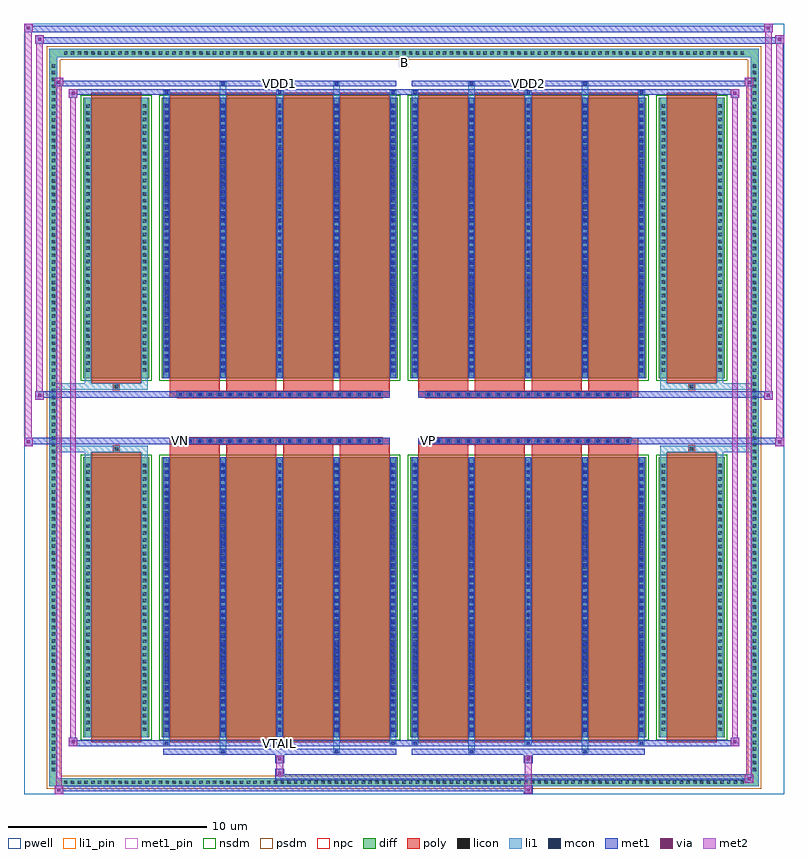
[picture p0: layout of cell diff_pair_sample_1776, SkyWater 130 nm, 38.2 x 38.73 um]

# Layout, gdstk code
import gdstk
lib = gdstk.Library(unit=1e-6, precision=5e-09)
def R(c, l, rs):  # rectangles x0, y0, x1, y1
    for r in rs: c.add(gdstk.rectangle(r[:2], r[2:], *l))
def A(c, l, x, y, w, h, nx, ny, dx, dy):  # array of equal rectangles
    R(c, l, [(x+i*dx, y+j*dy, x+i*dx+w, y+j*dy+h) for i in range(nx) for j in range(ny)])
def P(c, l, *ps):  # polygons
    for p in ps: c.add(gdstk.Polygon(p, *l))
pwell = (64, 44)
diff = (65, 20)
poly = (66, 20)
licon = (66, 44)
li1_pin = (67, 16)
li1 = (67, 20)
mcon = (67, 44)
met1_pin = (68, 16)
met1 = (68, 20)
via = (68, 44)
met2 = (69, 20)
nsdm = (93, 44)
psdm = (94, 20)
npc = (95, 20)

diff_pair_sample_1776 = lib.new_cell('diff_pair_sample_1776')
R(diff_pair_sample_1776, pwell, [(-19.1,-18.93,19.1,19.8), (-16.42,-17.12,-0.01,-0.8), (0.01,-17.12,16.42,-0.8), (-16.42,0.8,-0.01,17.12), (0.01,0.8,16.42,17.12)])
A(diff_pair_sample_1776, diff, -17.205, -18.53, 0.41, 0.41, 101, 2, 0.34, 36.65)
A(diff_pair_sample_1776, diff, -17.83, -17.885, 0.41, 0.41, 1, 105, 0, 0.34)
A(diff_pair_sample_1776, diff, 17.42, -17.885, 0.41, 0.41, 1, 105, 0, 0.34)
R(diff_pair_sample_1776, diff, [(-17.205,-18.53,17.205,-18.12), (-17.83,-17.885,-17.42,17.885), (17.42,-17.885,17.83,17.885), (-16.11,-16.075,-12.81,-1.985), (-12.17,-16.075,-0.32,-1.985), (0.32,-16.075,12.17,-1.985), (12.81,-16.075,16.11,-1.985), (-16.11,1.985,-12.81,16.075), (-12.17,1.985,-0.32,16.075), (0.32,1.985,12.17,16.075), (12.81,1.985,16.11,16.075), (-17.205,18.12,17.205,18.53)])
P(diff_pair_sample_1776, diff, [(17.83,18.53),(-17.83,18.53),(-17.83,-18.12),(-17.42,-18.12),(-17.42,18.12),(17.42,18.12),(17.42,-18.12),(-17.42,-18.12),(-17.83,-18.12),(-17.83,-18.53),(17.83,-18.53)])
A(diff_pair_sample_1776, poly, -11.78, -16.325, 2.52, 14.59, 4, 2, 2.85, 18.06)
A(diff_pair_sample_1776, poly, 0.71, -16.325, 2.52, 14.59, 4, 2, 2.85, 18.06)
A(diff_pair_sample_1776, poly, -11.78, -1.735, 2.52, 0.405, 4, 2, 2.85, 3.065)
A(diff_pair_sample_1776, poly, 0.71, -1.735, 2.52, 0.405, 4, 2, 2.85, 3.065)
A(diff_pair_sample_1776, poly, -11.41, -1.33, 0.33, 0.33, 21, 2, 0.5, 2.33)
A(diff_pair_sample_1776, poly, 1.08, -1.33, 0.33, 0.33, 21, 2, 0.5, 2.33)
R(diff_pair_sample_1776, poly, [(-15.72,-16.325,-13.2,-1.735), (13.2,-16.325,15.72,-1.735), (-14.625,-1.735,-14.295,-1.405), (-14.625,-1.735,-14.295,-1.405), (14.295,-1.735,14.625,-1.405), (14.295,-1.735,14.625,-1.405), (-11.78,-1.33,-0.71,-1), (0.71,-1.33,11.78,-1), (-11.78,1,-0.71,1.33), (0.71,1,11.78,1.33), (-14.625,1.405,-14.295,1.735), (-14.625,1.405,-14.295,1.735), (14.295,1.405,14.625,1.735), (14.295,1.405,14.625,1.735), (-15.72,1.735,-13.2,16.325), (13.2,1.735,15.72,16.325)])
A(diff_pair_sample_1776, licon, -17.085, -18.41, 0.17, 0.17, 101, 2, 0.34, 36.65)
A(diff_pair_sample_1776, licon, -17.71, -17.765, 0.17, 0.17, 1, 105, 0, 0.34)
A(diff_pair_sample_1776, licon, 17.54, -17.765, 0.17, 0.17, 1, 105, 0, 0.34)
A(diff_pair_sample_1776, licon, -15.97, -15.745, 0.17, 0.17, 1, 40, 0, 0.34)
A(diff_pair_sample_1776, licon, -13.12, -15.745, 0.17, 0.17, 1, 40, 0, 0.34)
A(diff_pair_sample_1776, licon, -12.03, -15.745, 0.17, 0.17, 5, 40, 2.85, 0.34)
A(diff_pair_sample_1776, licon, 0.46, -15.745, 0.17, 0.17, 5, 40, 2.85, 0.34)
A(diff_pair_sample_1776, licon, 12.95, -15.745, 0.17, 0.17, 1, 40, 0, 0.34)
A(diff_pair_sample_1776, licon, 15.8, -15.745, 0.17, 0.17, 1, 40, 0, 0.34)
A(diff_pair_sample_1776, licon, -11.33, -1.25, 0.17, 0.17, 21, 2, 0.5, 2.33)
A(diff_pair_sample_1776, licon, 1.16, -1.25, 0.17, 0.17, 21, 2, 0.5, 2.33)
A(diff_pair_sample_1776, licon, -15.97, 2.315, 0.17, 0.17, 1, 40, 0, 0.34)
A(diff_pair_sample_1776, licon, -13.12, 2.315, 0.17, 0.17, 1, 40, 0, 0.34)
A(diff_pair_sample_1776, licon, -12.03, 2.315, 0.17, 0.17, 5, 40, 2.85, 0.34)
A(diff_pair_sample_1776, licon, 0.46, 2.315, 0.17, 0.17, 5, 40, 2.85, 0.34)
A(diff_pair_sample_1776, licon, 12.95, 2.315, 0.17, 0.17, 1, 40, 0, 0.34)
A(diff_pair_sample_1776, licon, 15.8, 2.315, 0.17, 0.17, 1, 40, 0, 0.34)
R(diff_pair_sample_1776, licon, [(-14.545,-1.655,-14.375,-1.485), (14.375,-1.655,14.545,-1.485), (-14.545,1.485,-14.375,1.655), (14.375,1.485,14.545,1.655)])
R(diff_pair_sample_1776, li1_pin, [(-0.25,17.62,0.25,18.12)])
A(diff_pair_sample_1776, li1, -17.165, -18.49, 0.33, 0.33, 101, 2, 0.34, 36.65)
A(diff_pair_sample_1776, li1, -17.79, -17.845, 0.33, 0.33, 1, 105, 0, 0.34)
A(diff_pair_sample_1776, li1, 17.46, -17.845, 0.33, 0.33, 1, 105, 0, 0.34)
A(diff_pair_sample_1776, li1, -12.11, -16.45, 0.33, 0.375, 3, 2, 5.7, 32.525)
A(diff_pair_sample_1776, li1, -12.03, -16.45, 0.17, 0.17, 3, 2, 5.7, 32.73)
A(diff_pair_sample_1776, li1, 0.38, -16.45, 0.33, 0.375, 3, 2, 5.7, 32.525)
A(diff_pair_sample_1776, li1, 0.46, -16.45, 0.17, 0.17, 3, 2, 5.7, 32.73)
A(diff_pair_sample_1776, li1, -12.11, -16.075, 0.33, 14.09, 5, 2, 2.85, 18.06)
A(diff_pair_sample_1776, li1, 0.38, -16.075, 0.33, 14.09, 5, 2, 2.85, 18.06)
A(diff_pair_sample_1776, li1, -16.05, -15.825, 0.33, 0.33, 1, 40, 0, 0.34)
A(diff_pair_sample_1776, li1, -13.2, -15.825, 0.33, 0.33, 1, 40, 0, 0.34)
A(diff_pair_sample_1776, li1, -12.11, -15.825, 0.33, 0.33, 5, 40, 2.85, 0.34)
A(diff_pair_sample_1776, li1, 0.38, -15.825, 0.33, 0.33, 5, 40, 2.85, 0.34)
A(diff_pair_sample_1776, li1, 12.87, -15.825, 0.33, 0.33, 1, 40, 0, 0.34)
A(diff_pair_sample_1776, li1, 15.72, -15.825, 0.33, 0.33, 1, 40, 0, 0.34)
A(diff_pair_sample_1776, li1, -12.03, -15.775, 0.17, 0.17, 5, 38, 2.85, 0.36)
A(diff_pair_sample_1776, li1, -12.03, -15.775, 0.17, 13.49, 5, 2, 2.85, 18.06)
A(diff_pair_sample_1776, li1, 0.46, -15.775, 0.17, 0.17, 5, 38, 2.85, 0.36)
A(diff_pair_sample_1776, li1, 0.46, -15.775, 0.17, 13.49, 5, 2, 2.85, 18.06)
A(diff_pair_sample_1776, li1, -11.41, -1.33, 0.33, 0.33, 21, 2, 0.5, 2.33)
A(diff_pair_sample_1776, li1, 1.08, -1.33, 0.33, 0.33, 21, 2, 0.5, 2.33)
A(diff_pair_sample_1776, li1, -16.05, 2.235, 0.33, 0.33, 1, 40, 0, 0.34)
A(diff_pair_sample_1776, li1, -13.2, 2.235, 0.33, 0.33, 1, 40, 0, 0.34)
A(diff_pair_sample_1776, li1, -12.11, 2.235, 0.33, 0.33, 5, 40, 2.85, 0.34)
A(diff_pair_sample_1776, li1, 0.38, 2.235, 0.33, 0.33, 5, 40, 2.85, 0.34)
A(diff_pair_sample_1776, li1, 12.87, 2.235, 0.33, 0.33, 1, 40, 0, 0.34)
A(diff_pair_sample_1776, li1, 15.72, 2.235, 0.33, 0.33, 1, 40, 0, 0.34)
A(diff_pair_sample_1776, li1, -12.03, 2.285, 0.17, 0.17, 5, 38, 2.85, 0.36)
A(diff_pair_sample_1776, li1, 0.46, 2.285, 0.17, 0.17, 5, 38, 2.85, 0.36)
R(diff_pair_sample_1776, li1, [(-17.83,-18.53,-17.42,-18.12), (-17.83,-18.53,-17.42,-18.12), (-17.42,-18.53,17.42,-18.12), (17.42,-18.53,17.83,-18.12), (17.42,-18.53,17.83,-18.12), (-17.83,-18.12,-17.42,18.12), (17.42,-18.12,17.83,18.12), (-9.26,-16.88,-8.93,-16.075), (-9.18,-16.88,-9.01,-16.71), (-3.56,-16.88,-3.23,-16.075), (-3.48,-16.88,-3.31,-16.71), (3.23,-16.88,3.56,-16.075), (3.31,-16.88,3.48,-16.71), (8.93,-16.88,9.26,-16.075), (9.01,-16.88,9.18,-16.71), (-16.05,-16.075,-15.72,-1.985), (-13.2,-16.075,-12.87,-1.985), (12.87,-16.075,13.2,-1.985), (15.72,-16.075,16.05,-1.985), (-16.05,-1.985,-15.72,-1.405), (-13.2,-1.985,-12.87,-1.405), (12.87,-1.985,13.2,-1.405), (15.72,-1.985,16.05,-1.405), (-17.83,-1.735,-14.625,-1.405), (-16.05,-1.735,-14.625,-1.405), (-14.625,-1.735,-14.295,-1.405), (-14.295,-1.735,-12.87,-1.405), (12.87,-1.735,14.295,-1.405), (14.295,-1.735,14.625,-1.405), (14.295,-1.735,17.83,-1.405), (14.625,-1.735,16.05,-1.405), (-17.83,1.405,-14.625,1.735), (-16.05,1.405,-14.625,1.735), (-16.05,1.405,-15.72,1.985), (-14.625,1.405,-14.295,1.735), (-14.295,1.405,-12.87,1.735), (-13.2,1.405,-12.87,1.985), (12.87,1.405,14.295,1.735), (12.87,1.405,13.2,1.985), (14.295,1.405,14.625,1.735), (14.295,1.405,17.83,1.735), (14.625,1.405,16.05,1.735), (15.72,1.405,16.05,1.985), (-16.05,1.985,-15.72,16.075), (-13.2,1.985,-12.87,16.075), (12.87,1.985,13.2,16.075), (15.72,1.985,16.05,16.075), (-9.26,16.075,-8.93,16.88), (-3.56,16.075,-3.23,16.88), (3.23,16.075,3.56,16.88), (8.93,16.075,9.26,16.88), (-9.18,16.71,-9.01,16.88), (-3.48,16.71,-3.31,16.88), (3.31,16.71,3.48,16.88), (9.01,16.71,9.18,16.88), (-17.83,18.12,-17.42,18.53), (-17.83,18.12,-17.42,18.53), (-17.42,18.12,17.42,18.53), (17.42,18.12,17.83,18.53), (17.42,18.12,17.83,18.53)])
A(diff_pair_sample_1776, mcon, -12.03, -16.45, 0.17, 0.17, 3, 2, 5.7, 32.73)
A(diff_pair_sample_1776, mcon, 0.46, -16.45, 0.17, 0.17, 3, 2, 5.7, 32.73)
A(diff_pair_sample_1776, mcon, -12.03, -15.775, 0.17, 0.17, 5, 38, 2.85, 0.36)
A(diff_pair_sample_1776, mcon, 0.46, -15.775, 0.17, 0.17, 5, 38, 2.85, 0.36)
A(diff_pair_sample_1776, mcon, -11.33, -1.25, 0.17, 0.17, 21, 2, 0.5, 2.33)
A(diff_pair_sample_1776, mcon, 1.16, -1.25, 0.17, 0.17, 21, 2, 0.5, 2.33)
A(diff_pair_sample_1776, mcon, -12.03, 2.285, 0.17, 0.17, 5, 38, 2.85, 0.36)
A(diff_pair_sample_1776, mcon, 0.46, 2.285, 0.17, 0.17, 5, 38, 2.85, 0.36)
R(diff_pair_sample_1776, mcon, [(-9.18,-16.88,-9.01,-16.71), (-3.48,-16.88,-3.31,-16.71), (3.31,-16.88,3.48,-16.71), (9.01,-16.88,9.18,-16.71), (-9.18,16.71,-9.01,16.88), (-3.48,16.71,-3.31,16.88), (3.31,16.71,3.48,16.88), (9.01,16.71,9.18,16.88)])
R(diff_pair_sample_1776, met1_pin, [(-6.38,-16.49,-6.11,-16.22), (-11.38,-1.29,-11.11,-1.02), (1.11,-1.29,1.38,-1.02), (-6.38,16.67,-6.11,16.94), (6.11,16.67,6.38,16.94)])
A(diff_pair_sample_1776, met1, -12.09, -16.51, 0.29, 0.29, 3, 2, 5.7, 32.73)
A(diff_pair_sample_1776, met1, 0.4, -16.51, 0.29, 0.29, 3, 2, 5.7, 32.73)
A(diff_pair_sample_1776, met1, -12.09, -16.075, 0.29, 14.09, 5, 2, 2.85, 18.06)
A(diff_pair_sample_1776, met1, 0.4, -16.075, 0.29, 14.09, 5, 2, 2.85, 18.06)
A(diff_pair_sample_1776, met1, -12.09, -15.835, 0.29, 0.29, 5, 38, 2.85, 0.36)
A(diff_pair_sample_1776, met1, 0.4, -15.835, 0.29, 0.29, 5, 38, 2.85, 0.36)
A(diff_pair_sample_1776, met1, -11.39, -1.31, 0.29, 0.29, 21, 2, 0.5, 2.33)
A(diff_pair_sample_1776, met1, 1.1, -1.31, 0.29, 0.29, 21, 2, 0.5, 2.33)
A(diff_pair_sample_1776, met1, -12.09, 2.225, 0.29, 0.29, 5, 38, 2.85, 0.36)
A(diff_pair_sample_1776, met1, 0.4, 2.225, 0.29, 0.29, 5, 38, 2.85, 0.36)
R(diff_pair_sample_1776, met1, [(-17.56,-18.93,-17.13,-18.5), (6.03,-18.93,6.46,-18.5), (-17.56,-18.79,6.46,-18.5), (17.13,-18.36,17.56,-17.93), (-6.46,-18.22,17.56,-17.93), (-6.46,-18.08,-6.03,-17.65), (-6.46,-17.37,-6.03,-16.94), (6.03,-17.37,6.46,-16.94), (-12.09,-16.94,-0.4,-16.65), (-9.24,-16.94,-8.95,-16.65), (-3.54,-16.94,-3.25,-16.65), (0.4,-16.94,12.09,-16.65), (3.25,-16.94,3.54,-16.65), (8.95,-16.94,9.24,-16.65), (-16.85,-16.51,-16.42,-16.08), (-16.85,-16.51,-12.09,-16.22), (-12.09,-16.51,-0.4,-16.22), (-0.4,-16.51,0.4,-16.22), (0.4,-16.51,12.09,-16.22), (12.09,-16.51,16.85,-16.22), (16.42,-16.51,16.85,-16.08), (-19.1,-1.43,-18.67,-1), (18.67,-1.43,19.1,-1), (-19.1,-1.33,-0.71,-1), (-11.78,-1.33,-0.71,-1), (0.71,-1.33,11.78,-1), (0.71,-1.33,19.1,-1), (-18.53,0.9,-18.1,1.33), (18.1,0.9,18.53,1.33), (-18.53,1,-11.78,1.33), (-11.78,1,-0.71,1.33), (0.71,1,11.78,1.33), (11.78,1,18.53,1.33), (-16.85,16.08,-16.42,16.51), (16.42,16.08,16.85,16.51), (-16.85,16.22,-12.09,16.51), (-12.09,16.22,-0.4,16.51), (-0.4,16.22,0.4,16.51), (0.4,16.22,12.09,16.51), (12.09,16.22,16.85,16.51), (-17.56,16.65,-17.13,17.08), (-17.56,16.65,-12.09,16.94), (-12.09,16.65,-0.4,16.94), (-9.24,16.65,-8.95,16.94), (-3.54,16.65,-3.25,16.94), (0.4,16.65,12.09,16.94), (3.25,16.65,3.54,16.94), (8.95,16.65,9.24,16.94), (12.09,16.65,17.56,16.94), (17.13,16.65,17.56,17.08), (-18.53,18.8,-18.1,19.23), (-18.53,18.8,-16.42,19.13), (-16.42,18.8,16.42,19.13), (16.42,18.8,19.1,19.13), (18.67,18.8,19.1,19.23), (-19.1,19.37,-18.67,19.8), (-19.1,19.37,-16.42,19.7), (-16.42,19.37,16.42,19.7), (16.42,19.37,18.53,19.7), (18.1,19.37,18.53,19.8)])
R(diff_pair_sample_1776, via, [(-17.42,-18.79,-17.27,-18.64), (6.17,-18.79,6.32,-18.64), (17.27,-18.22,17.42,-18.07), (-6.32,-17.94,-6.17,-17.79), (-6.32,-17.23,-6.17,-17.08), (6.17,-17.23,6.32,-17.08), (-16.71,-16.37,-16.56,-16.22), (16.56,-16.37,16.71,-16.22), (-18.96,-1.29,-18.81,-1.14), (18.81,-1.29,18.96,-1.14), (-18.39,1.04,-18.24,1.19), (18.24,1.04,18.39,1.19), (-16.71,16.22,-16.56,16.37), (16.56,16.22,16.71,16.37), (-17.42,16.79,-17.27,16.94), (17.27,16.79,17.42,16.94), (-18.39,18.94,-18.24,19.09), (18.81,18.94,18.96,19.09), (-18.96,19.51,-18.81,19.66), (18.24,19.51,18.39,19.66)])
R(diff_pair_sample_1776, met2, [(-17.56,-18.93,-17.13,-18.5), (-17.49,-18.93,-17.2,17.08), (-17.2,-18.93,-17.13,-18.5), (-17.51,-18.88,-17.18,-18.55), (6.08,-18.88,6.41,-18.55), (6.08,-18.55,6.41,-17.32), (17.13,-18.36,17.56,-17.93), (17.2,-18.36,17.49,17.08), (17.49,-18.36,17.56,-17.93), (17.18,-18.31,17.51,-17.98), (-6.41,-18.03,-6.08,-17.7), (-6.41,-17.7,-6.08,-17.32), (-6.41,-17.32,-6.08,-16.99), (6.08,-17.32,6.41,-16.99), (-16.85,-16.51,-16.42,-16.08), (-16.78,-16.51,-16.49,16.51), (-16.49,-16.51,-16.42,-16.08), (16.42,-16.51,16.85,-16.08), (16.49,-16.51,16.78,16.51), (16.78,-16.51,16.85,-16.08), (-16.8,-16.46,-16.47,-16.13), (16.47,-16.46,16.8,-16.13), (-19.1,-1.43,-18.67,-1), (-19.05,-1.43,-18.72,19.8), (-18.72,-1.43,-18.67,-1), (18.67,-1.43,19.1,-1), (18.72,-1.43,19.05,19.23), (19.05,-1.43,19.1,-1), (-19.05,-1.38,-18.72,-1.05), (18.72,-1.38,19.05,-1.05), (-18.53,0.9,-18.1,1.33), (-18.48,0.9,-18.15,19.23), (-18.15,0.9,-18.1,1.33), (18.1,0.9,18.53,1.33), (18.15,0.9,18.48,19.8), (18.48,0.9,18.53,1.33), (-18.48,0.95,-18.15,1.28), (18.15,0.95,18.48,1.28), (-16.85,16.08,-16.42,16.51), (-16.49,16.08,-16.42,16.51), (16.42,16.08,16.85,16.51), (16.78,16.08,16.85,16.51), (-16.8,16.13,-16.47,16.46), (16.47,16.13,16.8,16.46), (-17.56,16.65,-17.13,17.08), (-17.2,16.65,-17.13,17.08), (17.13,16.65,17.56,17.08), (17.49,16.65,17.56,17.08), (-17.51,16.7,-17.18,17.03), (17.18,16.7,17.51,17.03), (-18.53,18.8,-18.1,19.23), (-18.15,18.8,-18.1,19.23), (18.67,18.8,19.1,19.23), (19.05,18.8,19.1,19.23), (-18.48,18.85,-18.15,19.18), (18.72,18.85,19.05,19.18), (-19.1,19.37,-18.67,19.8), (-18.72,19.37,-18.67,19.8), (18.1,19.37,18.53,19.8), (18.48,19.37,18.53,19.8), (-19.05,19.42,-18.72,19.75), (18.15,19.42,18.48,19.75)])
R(diff_pair_sample_1776, nsdm, [(-16.24,-16.205,-12.68,-1.855), (-12.3,-16.205,-0.19,-1.855), (0.19,-16.205,12.3,-1.855), (12.68,-16.205,16.24,-1.855), (-16.24,1.855,-12.68,16.205), (-12.3,1.855,-0.19,16.205), (0.19,1.855,12.3,16.205), (12.68,1.855,16.24,16.205)])
P(diff_pair_sample_1776, psdm, [(17.96,18.66),(-17.96,18.66),(-17.96,-17.99),(-17.29,-17.99),(-17.29,17.99),(17.29,17.99),(17.29,-17.99),(-17.29,-17.99),(-17.96,-17.99),(-17.96,-18.66),(17.96,-18.66)])
A(diff_pair_sample_1776, npc, -11.43, -1.35, 0.37, 0.37, 21, 2, 0.5, 2.33)
A(diff_pair_sample_1776, npc, 1.06, -1.35, 0.37, 0.37, 21, 2, 0.5, 2.33)
R(diff_pair_sample_1776, npc, [(-14.645,-1.755,-14.275,-1.385), (14.275,-1.755,14.645,-1.385), (-11.43,-1.35,-10.56,-0.98), (-11.43,-1.35,-10.56,-0.98), (-10.93,-1.35,-10.06,-0.98), (-10.93,-1.35,-10.06,-0.98), (-10.43,-1.35,-9.56,-0.98), (-10.43,-1.35,-9.56,-0.98), (-9.93,-1.35,-9.06,-0.98), (-9.93,-1.35,-9.06,-0.98), (-9.43,-1.35,-8.56,-0.98), (-9.43,-1.35,-8.56,-0.98), (-8.93,-1.35,-8.06,-0.98), (-8.93,-1.35,-8.06,-0.98), (-8.43,-1.35,-7.56,-0.98), (-8.43,-1.35,-7.56,-0.98), (-7.93,-1.35,-7.06,-0.98), (-7.93,-1.35,-7.06,-0.98), (-7.43,-1.35,-6.56,-0.98), (-7.43,-1.35,-6.56,-0.98), (-6.93,-1.35,-6.06,-0.98), (-6.93,-1.35,-6.06,-0.98), (-6.43,-1.35,-5.56,-0.98), (-6.43,-1.35,-5.56,-0.98), (-5.93,-1.35,-5.06,-0.98), (-5.93,-1.35,-5.06,-0.98), (-5.43,-1.35,-4.56,-0.98), (-5.43,-1.35,-4.56,-0.98), (-4.93,-1.35,-4.06,-0.98), (-4.93,-1.35,-4.06,-0.98), (-4.43,-1.35,-3.56,-0.98), (-4.43,-1.35,-3.56,-0.98), (-3.93,-1.35,-3.06,-0.98), (-3.93,-1.35,-3.06,-0.98), (-3.43,-1.35,-2.56,-0.98), (-3.43,-1.35,-2.56,-0.98), (-2.93,-1.35,-2.06,-0.98), (-2.93,-1.35,-2.06,-0.98), (-2.43,-1.35,-1.56,-0.98), (-2.43,-1.35,-1.56,-0.98), (-1.93,-1.35,-1.06,-0.98), (-1.93,-1.35,-1.06,-0.98), (1.06,-1.35,1.93,-0.98), (1.06,-1.35,1.93,-0.98), (1.56,-1.35,2.43,-0.98), (1.56,-1.35,2.43,-0.98), (2.06,-1.35,2.93,-0.98), (2.06,-1.35,2.93,-0.98), (2.56,-1.35,3.43,-0.98), (2.56,-1.35,3.43,-0.98), (3.06,-1.35,3.93,-0.98), (3.06,-1.35,3.93,-0.98), (3.56,-1.35,4.43,-0.98), (3.56,-1.35,4.43,-0.98), (4.06,-1.35,4.93,-0.98), (4.06,-1.35,4.93,-0.98), (4.56,-1.35,5.43,-0.98), (4.56,-1.35,5.43,-0.98), (5.06,-1.35,5.93,-0.98), (5.06,-1.35,5.93,-0.98), (5.56,-1.35,6.43,-0.98), (5.56,-1.35,6.43,-0.98), (6.06,-1.35,6.93,-0.98), (6.06,-1.35,6.93,-0.98), (6.56,-1.35,7.43,-0.98), (6.56,-1.35,7.43,-0.98), (7.06,-1.35,7.93,-0.98), (7.06,-1.35,7.93,-0.98), (7.56,-1.35,8.43,-0.98), (7.56,-1.35,8.43,-0.98), (8.06,-1.35,8.93,-0.98), (8.06,-1.35,8.93,-0.98), (8.56,-1.35,9.43,-0.98), (8.56,-1.35,9.43,-0.98), (9.06,-1.35,9.93,-0.98), (9.06,-1.35,9.93,-0.98), (9.56,-1.35,10.43,-0.98), (9.56,-1.35,10.43,-0.98), (10.06,-1.35,10.93,-0.98), (10.06,-1.35,10.93,-0.98), (10.56,-1.35,11.43,-0.98), (10.56,-1.35,11.43,-0.98), (-11.43,0.98,-10.56,1.35), (-11.43,0.98,-10.56,1.35), (-10.93,0.98,-10.06,1.35), (-10.93,0.98,-10.06,1.35), (-10.43,0.98,-9.56,1.35), (-10.43,0.98,-9.56,1.35), (-9.93,0.98,-9.06,1.35), (-9.93,0.98,-9.06,1.35), (-9.43,0.98,-8.56,1.35), (-9.43,0.98,-8.56,1.35), (-8.93,0.98,-8.06,1.35), (-8.93,0.98,-8.06,1.35), (-8.43,0.98,-7.56,1.35), (-8.43,0.98,-7.56,1.35), (-7.93,0.98,-7.06,1.35), (-7.93,0.98,-7.06,1.35), (-7.43,0.98,-6.56,1.35), (-7.43,0.98,-6.56,1.35), (-6.93,0.98,-6.06,1.35), (-6.93,0.98,-6.06,1.35), (-6.43,0.98,-5.56,1.35), (-6.43,0.98,-5.56,1.35), (-5.93,0.98,-5.06,1.35), (-5.93,0.98,-5.06,1.35), (-5.43,0.98,-4.56,1.35), (-5.43,0.98,-4.56,1.35), (-4.93,0.98,-4.06,1.35), (-4.93,0.98,-4.06,1.35), (-4.43,0.98,-3.56,1.35), (-4.43,0.98,-3.56,1.35), (-3.93,0.98,-3.06,1.35), (-3.93,0.98,-3.06,1.35), (-3.43,0.98,-2.56,1.35), (-3.43,0.98,-2.56,1.35), (-2.93,0.98,-2.06,1.35), (-2.93,0.98,-2.06,1.35), (-2.43,0.98,-1.56,1.35), (-2.43,0.98,-1.56,1.35), (-1.93,0.98,-1.06,1.35), (-1.93,0.98,-1.06,1.35), (1.06,0.98,1.93,1.35), (1.06,0.98,1.93,1.35), (1.56,0.98,2.43,1.35), (1.56,0.98,2.43,1.35), (2.06,0.98,2.93,1.35), (2.06,0.98,2.93,1.35), (2.56,0.98,3.43,1.35), (2.56,0.98,3.43,1.35), (3.06,0.98,3.93,1.35), (3.06,0.98,3.93,1.35), (3.56,0.98,4.43,1.35), (3.56,0.98,4.43,1.35), (4.06,0.98,4.93,1.35), (4.06,0.98,4.93,1.35), (4.56,0.98,5.43,1.35), (4.56,0.98,5.43,1.35), (5.06,0.98,5.93,1.35), (5.06,0.98,5.93,1.35), (5.56,0.98,6.43,1.35), (5.56,0.98,6.43,1.35), (6.06,0.98,6.93,1.35), (6.06,0.98,6.93,1.35), (6.56,0.98,7.43,1.35), (6.56,0.98,7.43,1.35), (7.06,0.98,7.93,1.35), (7.06,0.98,7.93,1.35), (7.56,0.98,8.43,1.35), (7.56,0.98,8.43,1.35), (8.06,0.98,8.93,1.35), (8.06,0.98,8.93,1.35), (8.56,0.98,9.43,1.35), (8.56,0.98,9.43,1.35), (9.06,0.98,9.93,1.35), (9.06,0.98,9.93,1.35), (9.56,0.98,10.43,1.35), (9.56,0.98,10.43,1.35), (10.06,0.98,10.93,1.35), (10.06,0.98,10.93,1.35), (10.56,0.98,11.43,1.35), (10.56,0.98,11.43,1.35), (-14.645,1.385,-14.275,1.755), (14.275,1.385,14.645,1.755)])
diff_pair_sample_1776.add(gdstk.Label('VTAIL', (-6.245,-16.355), layer=68, texttype=5))
diff_pair_sample_1776.add(gdstk.Label('VN', (-11.245,-1.155), layer=68, texttype=5))
diff_pair_sample_1776.add(gdstk.Label('VP', (1.245,-1.155), layer=68, texttype=5))
diff_pair_sample_1776.add(gdstk.Label('B', (0,17.87), layer=67, texttype=5))
diff_pair_sample_1776.add(gdstk.Label('VDD2', (6.245,16.805), layer=68, texttype=5))
diff_pair_sample_1776.add(gdstk.Label('VDD1', (-6.245,16.805), layer=68, texttype=5))

lib.write_gds('diff_pair_sample_1776.gds')
